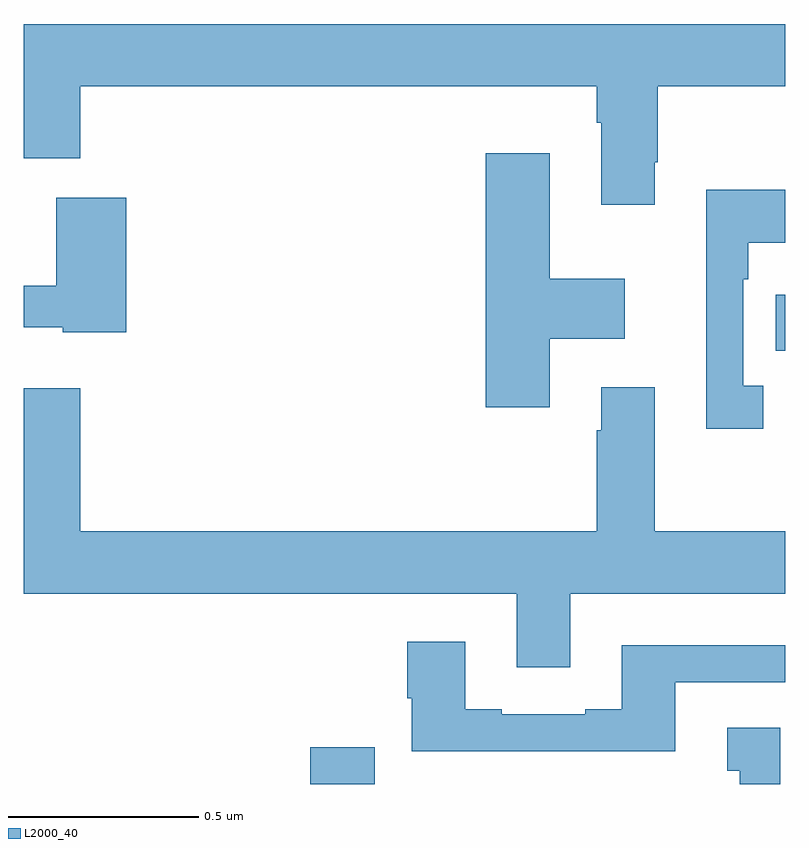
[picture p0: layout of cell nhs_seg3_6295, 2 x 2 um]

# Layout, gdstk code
import gdstk
lib = gdstk.Library(unit=1e-6, precision=1e-09)
def R(c, l, rs):  # rectangles x0, y0, x1, y1
    for r in rs: c.add(gdstk.rectangle(r[:2], r[2:], *l))
def P(c, l, *ps):  # polygons
    for p in ps: c.add(gdstk.Polygon(p, *l))
L2000_40 = (2000, 40)

nhs_seg3_6295 = lib.new_cell('nhs_seg3_6295')
R(nhs_seg3_6295, L2000_40, [(189.752,716.4,189.922,716.497), (190.975,717.538,191,717.685)])
P(nhs_seg3_6295, L2000_40, [(190.657,718.033),(190.665,718.033),(190.665,718.232),(191,718.232),(191,718.396),(189,718.396),(189,718.044),(189.148,718.044),(189.148,718.232),(190.505,718.232),(190.505,718.136),(190.517,718.136),(190.517,717.921),(190.657,717.921)],
  [(190.381,717.569),(190.579,717.569),(190.579,717.727),(190.381,717.727),(190.381,718.057),(190.214,718.057),(190.214,717.39),(190.381,717.39)],
  [(190.942,717.446),(190.89,717.446),(190.89,717.725),(190.903,717.725),(190.903,717.821),(191,717.821),(191,717.961),(190.793,717.961),(190.793,717.333),(190.942,717.333)],
  [(189.269,717.94),(189.086,717.94),(189.086,717.709),(189,717.709),(189,717.599),(189.102,717.599),(189.102,717.587),(189.269,717.587)],
  [(190.435,716.9),(191,716.9),(191,717.064),(190.657,717.064),(190.657,717.442),(190.517,717.442),(190.517,717.329),(190.505,717.329),(190.505,717.064),(189.148,717.064),(189.148,717.439),(189,717.439),(189,716.9),(190.295,716.9),(190.295,716.706),(190.435,716.706)],
  [(190.711,716.667),(191,716.667),(191,716.764),(190.571,716.764),(190.571,716.596),(190.475,716.596),(190.475,716.583),(190.255,716.583),(190.255,716.596),(190.159,716.596),(190.159,716.773),(190.007,716.773),(190.007,716.625),(190.019,716.625),(190.019,716.486),(190.711,716.486)],
  [(190.987,716.548),(190.847,716.548),(190.847,716.435),(190.88,716.435),(190.88,716.4),(190.987,716.4)])

lib.write_gds('nhs_seg3_6295.gds')
